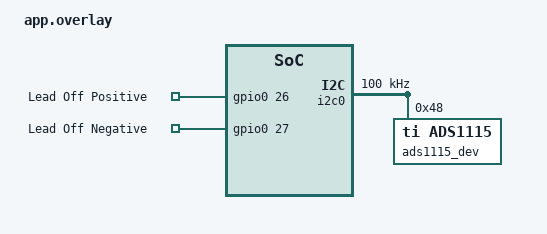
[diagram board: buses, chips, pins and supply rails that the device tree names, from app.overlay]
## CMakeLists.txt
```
cmake_minimum_required(VERSION 3.20.0)
find_package(Zephyr REQUIRED HINTS $ENV{ZEPHYR_BASE})
project(zephyr_ecg)

target_sources(app PRIVATE src/main.c)
```

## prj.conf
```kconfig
# Permite o uso de revisões do chip ESP32 que não são oficialmente suportadas.
CONFIG_ESP32_USE_UNSUPPORTED_REVISION=y

# Habilita suporte a C++ e Logs
CONFIG_CPP=y
CONFIG_LOG=y
CONFIG_PRINTK=y

# Habilita GPIO (para o LED e LO+/-)
CONFIG_GPIO=y

# Habilita I2C (para comunicar com o ADS1115)
CONFIG_I2C=y

# Habilita ADC (para usar a API do ADC)
CONFIG_ADC=y
CONFIG_ADC_ASYNC=y

# Habilita Ponto Flutuante (necessário para alguns calculos de sensores)
CONFIG_FPU=y

# Habilita suporte a float no printk (Essencial para ver voltagem se quiser)
CONFIG_CBPRINTF_FP_SUPPORT=y
```

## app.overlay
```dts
/ {
    buttons {
        compatible = "gpio-keys";
        lo_p: lo_plus {
            gpios = <&gpio0 26 (GPIO_ACTIVE_HIGH | GPIO_PULL_UP)>;
            label = "Lead Off Positive";
        };
        lo_n: lo_minus {
            gpios = <&gpio0 27 (GPIO_ACTIVE_HIGH | GPIO_PULL_UP)>;
            label = "Lead Off Negative";
        };
    };
};

&i2c0 {
    clock-frequency = <100000>;

    ads1115_dev: ads1115@48 {
        compatible = "ti,ads1115";
        reg = <0x48>;
        #io-channel-cells = <1>;
    };
};
```

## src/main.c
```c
#include <zephyr/kernel.h>
#include <zephyr/drivers/gpio.h>
#include <zephyr/drivers/adc.h>
#include <zephyr/sys/printk.h>

// Obtém a especificação do dispositivo para os sensores de "Lead Off" positivo (LO+) e negativo (LO-)
static const struct gpio_dt_spec lo_pos = GPIO_DT_SPEC_GET(DT_NODELABEL(lo_p), gpios);
static const struct gpio_dt_spec lo_neg = GPIO_DT_SPEC_GET(DT_NODELABEL(lo_n), gpios);

// Obtém o ponteiro para a estrutura do dispositivo ADC
#define ADC_NODE DT_NODELABEL(ads1115_dev)
static const struct device *adc_dev = DEVICE_DT_GET(ADC_NODE);

// Define a fila de mensagens para comunicação entre threads (máximo 20 itens, alinhamento de 4 bytes)
K_MSGQ_DEFINE(adc_data_q, sizeof(int16_t), 20, 4);

// Define o semáforo para sincronização entre a thread de processamento e a de interface
K_SEM_DEFINE(sem_novo_batimento, 0, 1);

// Define o Mutex
K_MUTEX_DEFINE(bpm_mutex);

// Variável global para armazenar o valor de batimentos por minuto (BPM)
volatile int bpm_global = 0;

// Esta thread é responsável por ler os dados do sensor (ADC) e colocá-los na fila
void thread_aquisicao(void) {
    if (!device_is_ready(adc_dev)) return;

    // Configura os pinos dos sensores de "Lead Off" (LO+ e LO-) como entrada digital
    gpio_pin_configure_dt(&lo_pos, GPIO_INPUT);
    gpio_pin_configure_dt(&lo_neg, GPIO_INPUT);

    // Estrutura para configurar o canal do ADC.
    struct adc_channel_cfg channel_cfg = {
        .gain = ADC_GAIN_1,
        .reference = ADC_REF_INTERNAL,
        .acquisition_time = ADC_ACQ_TIME_DEFAULT,
        .channel_id = 0 // Pino A0 do ADS1115
    };
    // Aplica a configuração de canal ao dispositivo ADC
    adc_channel_setup(adc_dev, &channel_cfg);

    // Buffer para armazenar a leitura do ADC
    int16_t buffer;
    // Estrutura que define a sequência de leitura do ADC.
    struct adc_sequence sequence = {
        .channels = BIT(0),
        .buffer = &buffer,
        .buffer_size = sizeof(buffer),
        .resolution = 15 // ADS1115 usa 15 bits (apenas valores positivos)
    };

    while (1) {
        if (gpio_pin_get_dt(&lo_pos) || gpio_pin_get_dt(&lo_neg)) {
            int16_t erro = 0;
            // Coloca o valor de erro na fila
            k_msgq_put(&adc_data_q, &erro, K_NO_WAIT);
            k_msleep(100); continue;
        }

        // Lê o valor do ADC
        if (adc_read(adc_dev, &sequence) == 0) {
            // Envia o dado bruto para a fila de processamento
            k_msgq_put(&adc_data_q, &buffer, K_NO_WAIT);
        }

        k_msleep(5);
    }
}

// Esta thread pega os dados da fila, processa-os para encontrar picos e calcular o BPM
void thread_processamento(void) {
    int16_t leitura; // Variável para armazenar o dado lido da fila
    int threshold = 28000; // Limiar para detecção de pico (onda R do ECG)
    int64_t last_time = 0; // Armazena o tempo (em ms) do último pico detectado

    while (1) {
        // Bloqueia a thread até um novo dado chegar na fila
        k_msgq_get(&adc_data_q, &leitura, K_FOREVER);

        if (leitura == 0) continue;

        // Lógica de detecção de pico
        if (leitura > threshold) {
            // Obtém o tempo atual do sistema em milissegundos
            int64_t now = k_uptime_get();

            // Se este não for o primeiro pico detectado
            if (last_time != 0) {
                // Calcula o intervalo de tempo (delta) entre o pico atual e o anterior
                int64_t delta = now - last_time;
                // Filtro para ignorar ruídos ou picos muito próximos
                if (delta > 400) {

                    // Calcula o novo BPM
                    int novo_bpm = 60000 / delta;

                    // Bloqueia o mutex
                    k_mutex_lock(&bpm_mutex, K_FOREVER);
                    // Atualiza a variável global com o novo valor de BPM
                    bpm_global = novo_bpm;
                    // Libera o mutex
                    k_mutex_unlock(&bpm_mutex);

                    // Sinaliza para a thread de interface que há um novo dado de BPM para mostrar
                    k_sem_give(&sem_novo_batimento);

                    // Atualiza o tempo do último pico para o tempo do pico atual
                    last_time = now;
                }
            } else {
                // Se for o primeiro pico, apenas armazena o tempo
                last_time = now;
            }
            // Ignora os próximos 200ms para não contar o mesmo batimento várias vezes
            k_msleep(200);
        }
    }
}

// Esta thread é responsável por mostrar os resultados ao usuário
void thread_interface(void) {
    int bpm_local; // Variável local para armazenar o BPM a ser exibido

    printk("Sistema Iniciado. Aguardando batimentos...\n");

    while (1) {
        // Ela só continuará a execução quando k_sem_give(&sem_novo_batimento) for chamado
        k_sem_take(&sem_novo_batimento, K_FOREVER);

        // Bloqueia o mutex
        k_mutex_lock(&bpm_mutex, K_FOREVER);
        // Copia o valor global para uma variável local
        bpm_local = bpm_global;
        // Libera o mutex
        k_mutex_unlock(&bpm_mutex);

        // Imprime o resultado no console
        printk("BATIMENTO DETECTADO! Frequencia: %d BPM\n", bpm_local);
    }
}

// Cria e inicia as threads do sistema com suas respectivas stack sizes e prioridades
K_THREAD_DEFINE(t_aq, 1024, thread_aquisicao, NULL, NULL, NULL, 5, 0, 0);
K_THREAD_DEFINE(t_pr, 1024, thread_processamento, NULL, NULL, NULL, 6, 0, 0);
K_THREAD_DEFINE(t_in, 1024, thread_interface, NULL, NULL, NULL, 7, 0, 0);
```
